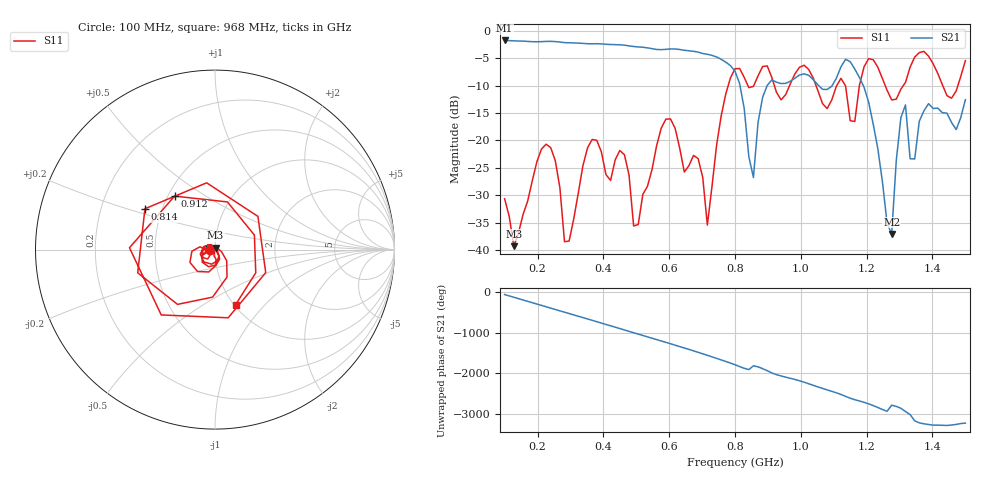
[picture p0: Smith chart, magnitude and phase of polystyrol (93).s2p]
! NanoVNA-App
! Date: 2025-09-26 09:42:36
! Start: 100MHz Stop: 1,5GHz Points: 101
! S-Parameter data: F S11 S21 S12 S22
# Hz S RI R 50
!  Frequency  S11_Real  S11_Imag  S21_Real  S21_Imag  S12_Real  S12_Imag  S22_Real  S22_Imag
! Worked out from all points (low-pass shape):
!   101 points, 100 MHz to 1.5 GHz, reference 50 ohm
!   highest |S21| = -1.79 dB at 100 MHz (marker M1); lowest = -37.1 dB at 1.276 GHz (marker M2)
!   |S21| within 3 dB of the highest: start of sweep to 743.5 MHz
!   lowest |S11| = -39.3 dB at 128 MHz (marker M3), VSWR 1.02, Z = 50.3 + j1.05 ohm
!   |S11| at or under -10 dB: start of sweep to 779.4 MHz; 1.046 GHz to 1.109 GHz (63.23 MHz wide, 5.87 % of centre); 1.256 GHz to 1.312 GHz (55.18 MHz wide, 4.3 % of centre)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
!   S12 and S22 are empty: the file has one direction only
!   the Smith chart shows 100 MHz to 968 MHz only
!   S11 on the Smith chart (normalised r, x): 100 MHz: 0.94, -0.01; 814 MHz: 0.40, +0.23; 912 MHz: 0.54, +0.37; 968 MHz: 1.02, -0.70
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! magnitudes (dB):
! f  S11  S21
! 100 MHz  -30.7  -1.8
! 128 MHz  -39.3  -1.9
! 212 MHz  -21.6  -2.0
! 254 MHz  -23.7  -2.0
! 282 MHz  -38.5  -2.2
! 338 MHz  -24.6  -2.3
! 464 MHz  -22.6  -2.6
! 506 MHz  -35.3  -3.0
! 576 MHz  -17.8  -3.5
! 688 MHz  -23.3  -3.9
! 716 MHz  -35.5  -4.3
! 800 MHz  -6.9  -7.4
! 814 MHz  -6.9  -9.6
! 856 MHz  -10.2  -26.8
! 912 MHz  -8.6  -9.0
! 968 MHz  -9.7  -9.2
! 1.038 GHz  -8.7  -9.0
! 1.178 GHz  -10.0  -8.5
! 1.276 GHz  -12.6  -37.1
! 1.318 GHz  -9.4  -13.5
! 1.346 GHz  -4.8  -23.4
! 1.5 GHz  -5.5  -12.6
